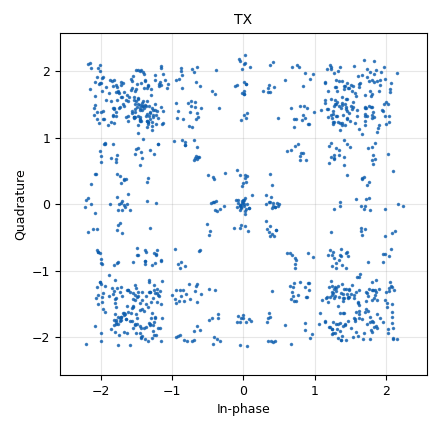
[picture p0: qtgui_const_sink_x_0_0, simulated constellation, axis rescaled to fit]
options:
  parameters:
    author: gaylybailey
    generate_options: qt_gui
    id: default
    output_language: python
    title: MMSE Beamforming
  states: {}

blocks:
- name: constel
  id: variable_constellation
  parameters:
    const_points: '[1,-1]'
    precision: '8'
    rot_sym: '2'
    sym_map: '[0,1]'
    type: qpsk
  states: {}
- name: data
  id: variable
  parameters:
    value: '[0]*4+[random.getrandbits(8) for i in range(payload_size)]'
  states: {}
- name: excess_bw
  id: variable
  parameters:
    value: '0.35'
  states: {}
- name: intf_angle
  id: variable_qtgui_range
  parameters:
    gui_hint: 5,1,1,1
    label: Interferer Angle
    start: '-90'
    step: '.1'
    stop: '90'
    value: '75'
  states: {state: disabled}
- name: num_elems
  id: variable
  parameters:
    value: '4'
  states: {}
- name: payload_size
  id: variable
  parameters:
    value: '992'
  states: {}
- name: preamble
  id: variable
  parameters:
    value: '[0x27,0x2F,0x18,0x5D,0x5B,0x2A,0x3F,0x71,0x63,0x3C,0x17,0x0C,0x0A,0x41,0xD6,0x1F,0x4C,0x23,0x65,0x68,0xED,0x1C,0x77,0xA7,0x0E,0x0A,0x9E,0x47,0x82,0xA4,0x57,0x24,]'
  states: {}
- name: samp_rate
  id: variable
  parameters:
    value: '50000'
  states: {}
- name: sig_phi
  id: variable_qtgui_range
  parameters:
    label: Signal Angle [phi]
    rangeType: int
    start: '0'
    step: '1'
    stop: '180'
    value: '0'
  states: {}
- name: sig_theta
  id: variable_qtgui_range
  parameters:
    label: Signal Angle [theta]
    rangeType: int
    start: '-180'
    step: '1'
    stop: '180'
    value: '0'
  states: {}
- name: sps
  id: variable
  parameters:
    value: '4'
  states: {}
- name: sps_0
  id: variable
  parameters:
    value: '4'
  states: {}
- name: symbols_per_byte
  id: variable
  parameters:
    value: '4'
  states: {}
- name: analog_random_source_x_0
  id: analog_random_source_x
  parameters:
    max: '255'
    min: '0'
    num_samps: '10000'
    repeat: 'True'
    type: byte
  states: {}
- name: blocks_message_strobe_0
  id: blocks_message_strobe
  parameters:
    msg: pmt.cons(pmt.to_pmt(np.ones((32,1)).shape), pmt.to_pmt(np.zeros((32,1))))
    period: '1000'
  states: {}
- name: blocks_throttle2_0
  id: blocks_throttle2
  parameters:
    samples_per_second: samp_rate
    type: complex
  states: {}
- name: digital_constellation_modulator_0
  id: digital_constellation_modulator
  parameters:
    constellation: constel
    differential: 'True'
    excess_bw: excess_bw
    samples_per_symbol: sps
  states: {}
- name: import_0_0
  id: import
  parameters:
    imports: import random
  states: {}
- name: import_0_0_0
  id: import
  parameters:
    imports: import numpy as np
  states: {}
- name: medusa_array_sim_0
  id: medusa_array_sim
  parameters:
    element_locations: /home/gaylybailey/Documents/HRG/gr-medusa/examples/example_elements.npy
    signal_angle_phi: sig_phi
    signal_angle_theta: sig_theta
    wavelen: '1.0'
  states: {}
- name: medusa_plot_array_factor_contour_0
  id: medusa_plot_array_factor_contour
  parameters:
    auto_scale: 'True'
    background: default
    cmap: viridis
    draw_isos: 'False'
    num_levels: '10'
    title: Array Factor
    x_tick_spacing: '15'
    y_tick_spacing: '30'
  states: {}
- name: qtgui_const_sink_x_0
  id: qtgui_const_sink_x
  parameters:
    grid: 'True'
    gui_hint: 1, 1, 1, 1
    name: '"RX"'
    size: '1024'
    type: complex
  states: {}
- name: qtgui_const_sink_x_0_0
  id: qtgui_const_sink_x
  parameters:
    grid: 'True'
    gui_hint: 1, 0, 1, 1
    name: '"TX"'
    size: '1024'
    type: complex
  states: {}

connections:
- [analog_random_source_x_0, '0', digital_constellation_modulator_0, '0']
- [blocks_message_strobe_0, strobe, medusa_array_sim_0, weights]
- [blocks_throttle2_0, '0', medusa_array_sim_0, '0']
- [blocks_throttle2_0, '0', qtgui_const_sink_x_0_0, '0']
- [digital_constellation_modulator_0, '0', blocks_throttle2_0, '0']
- [medusa_array_sim_0, '0', qtgui_const_sink_x_0, '0']
- [medusa_array_sim_0, plot, medusa_plot_array_factor_contour_0, plot]

metadata:
  file_format: 1
  grc_version: 3.10.7.0
